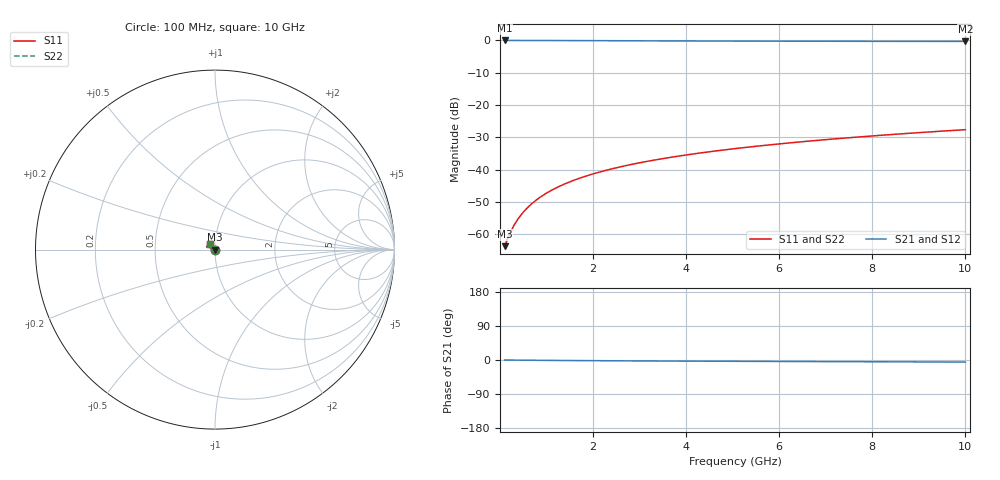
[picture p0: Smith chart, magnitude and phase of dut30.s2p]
! Touchstone file exported from HFSS 2024.1.0
!  File:  C:/UserFiles/LocalFiles/RDL_TSV_Batchsim/temp_TSV1_30_1779369937.aedt
!  Generated:  09:35:32 PM May 21, 2026
!  Design:  TSV1
!  Project:  temp_TSV1_30_1779369937
!  Setup:  Setup1
!  Solution:  Sweep
! Variables:
!  dtsv = 5.2um
!  hbump = 3um
!  htsv = 76.69um
!  lrdl = 252.1521522um
!  p = 40
!  p1 = 55.5um
!  t = 500um
!  trdl = 3um
!  wrdl = 24.89489489um
# GHz S MA R 50.000000
! Terminal data exported
! Port[1] = TSV22_T1
! Port[2] = TSV22_T2
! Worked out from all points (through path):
!   100 points, 100 MHz to 10 GHz, reference 50 ohm
!   highest |S21| = 0.00 dB at 100 MHz (marker M1); lowest = -0.3 dB at 10 GHz (marker M2)
!   lowest |S11| = -63.7 dB at 100 MHz (marker M3), VSWR 1.00, Z = 50 - j0.0449 ohm
!   |S11| at or under -10 dB: start of sweep to end of sweep
!   |S22| runs from -63.7 to -27.6 dB; largest |S21 - S12| = 3.3e-15
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0.1  0.0006546 -43.3  0.9995 -0.1  0.9995 -0.1  0.0006546 -43.3
! Gamma 0 0 0 0
! Port Impedance 50 0 50 0
0.2  0.0009833 -65.6  0.9994 -0.2  0.9994 -0.2  0.0009833 -65.6
0.3  0.001368 -77.7  0.9993 -0.3  0.9993 -0.3  0.001368 -77.7
0.4  0.001775 -85.7  0.9991 -0.4  0.9991 -0.4  0.001775 -85.7
0.5  0.002193 -91.7  0.9989 -0.5  0.9989 -0.5  0.002193 -91.7
0.6  0.002617 -96.7  0.9986 -0.6  0.9986 -0.6  0.002617 -96.7
0.7  0.003044 -101.0  0.9984 -0.7  0.9984 -0.7  0.003044 -101.0
0.9  0.003902 -108.6  0.9977 -0.9  0.9977 -0.9  0.003902 -108.6
1  0.004332 -112.0  0.9973 -1.0  0.9973 -1.0  0.004332 -112.0
1.2  0.005191 -118.3  0.9964 -1.1  0.9964 -1.1  0.005191 -118.3
1.5  0.006474 -127.0  0.995 -1.4  0.995 -1.4  0.006474 -127.0
1.8  0.007749 -135.0  0.9934 -1.6  0.9934 -1.6  0.007749 -135.0
2.1  0.009015 -142.5  0.9917 -1.9  0.9917 -1.9  0.009015 -142.5
2.5  0.01069 -151.6  0.9893 -2.1  0.9893 -2.1  0.01069 -151.6
2.9  0.01235 -159.9  0.987 -2.4  0.987 -2.4  0.01235 -159.9
3.4  0.01442 -169.1  0.9843 -2.7  0.9843 -2.7  0.01442 -169.1
4.2  0.0177 178.2  0.9804 -3.1  0.9804 -3.1  0.0177 178.2
5.1  0.02137 166.6  0.9767 -3.5  0.9767 -3.5  0.02137 166.6
5.9  0.02464 158.1  0.9741 -3.8  0.9741 -3.8  0.02464 158.1
6.7  0.02791 151.1  0.972 -4.1  0.972 -4.1  0.02791 151.1
8.4  0.03492 139.3  0.9685 -4.8  0.9685 -4.8  0.03492 139.3
10  0.04158 131.1  0.9661 -5.5  0.9661 -5.5  0.04158 131.1
